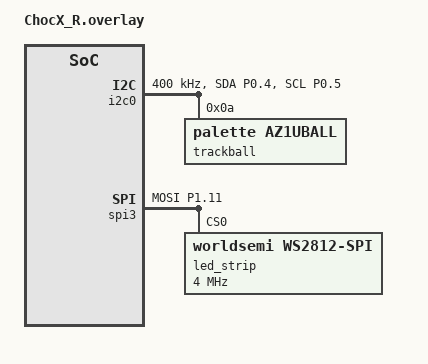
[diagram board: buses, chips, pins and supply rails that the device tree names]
#include "ChocX.dtsi"
#include <dt-bindings/led/led.h>
#include <input/processors.dtsi>
#include <dt-bindings/zmk/input_transform.h>

&default_transform {
    col-offset = <6>;
};

&kscan0 {
        col-gpios
            = <&xiao_d 10 GPIO_ACTIVE_HIGH>
            , <&xiao_d 9 GPIO_ACTIVE_HIGH> 
            , <&xiao_d 8 GPIO_ACTIVE_HIGH> 
            , <&xiao_d 7 GPIO_ACTIVE_HIGH> 
            , <&gpio0 9 GPIO_ACTIVE_HIGH>
            ;
};

&pinctrl {
	i2c0_default: i2c0_default {
		group1 {
			psels = <NRF_PSEL(TWIM_SDA, 0, 4)>,
				<NRF_PSEL(TWIM_SCL, 0, 5)>;
		};
	};

	i2c0_sleep: i2c0_sleep {
		group1 {
			psels = <NRF_PSEL(TWIM_SDA, 0, 4)>,
				<NRF_PSEL(TWIM_SCL, 0, 5)>;
		low-power-enable;
		};
	};

    spi3_default: spi3_default {
        group1 {
            psels = <NRF_PSEL(SPIM_MOSI, 1, 11)>;
        };
    };
    spi3_sleep: spi3_sleep {
        group1 {
            psels = <NRF_PSEL(SPIM_MOSI, 1, 11)>;
            low-power-enable;
        };
    };
};

&i2c0 {
	compatible = "nordic,nrf-twim"; // I2C controller instead of generic
	status = "okay";
	pinctrl-0 = <&i2c0_default>;
	pinctrl-1 = <&i2c0_sleep>;
	pinctrl-names = "default", "sleep";
	clock-frequency = <I2C_BITRATE_FAST>;

    trackball: trackball@a {
        compatible = "palette,az1uball";
        reg = <0x0A>;
		status = "okay";
    };
};

&spi3 {
    compatible = "nordic,nrf-spim";
    status = "okay";

    pinctrl-0 = <&spi3_default>;
    pinctrl-1 = <&spi3_sleep>;
    pinctrl-names = "default", "sleep";

    led_strip: ws2812@0 {
        compatible = "worldsemi,ws2812-spi";

        /* SPI */
        reg = <0>; /* ignored, but necessary for SPI bindings */
        spi-max-frequency = <4000000>;

        /* WS2812 */
        chain-length = <20>; /* number of LEDs */
        spi-one-frame = <0x70>;
        spi-zero-frame = <0x40>;
        color-mapping = <LED_COLOR_ID_GREEN
                         LED_COLOR_ID_RED
                         LED_COLOR_ID_BLUE>;
    };
};
/ {
    trackball_input_listener: trackball_input_listener {
        compatible = "zmk,input-listener";
        device = <&trackball>;
        input-processors = <&zip_xy_scaler 10 1
							&zip_xy_transform (INPUT_TRANSFORM_XY_SWAP | INPUT_TRANSFORM_Y_INVERT)>;
        status = "okay";
    };
};
/ {
    chosen {
        zmk,underglow = &led_strip;
    };
};
